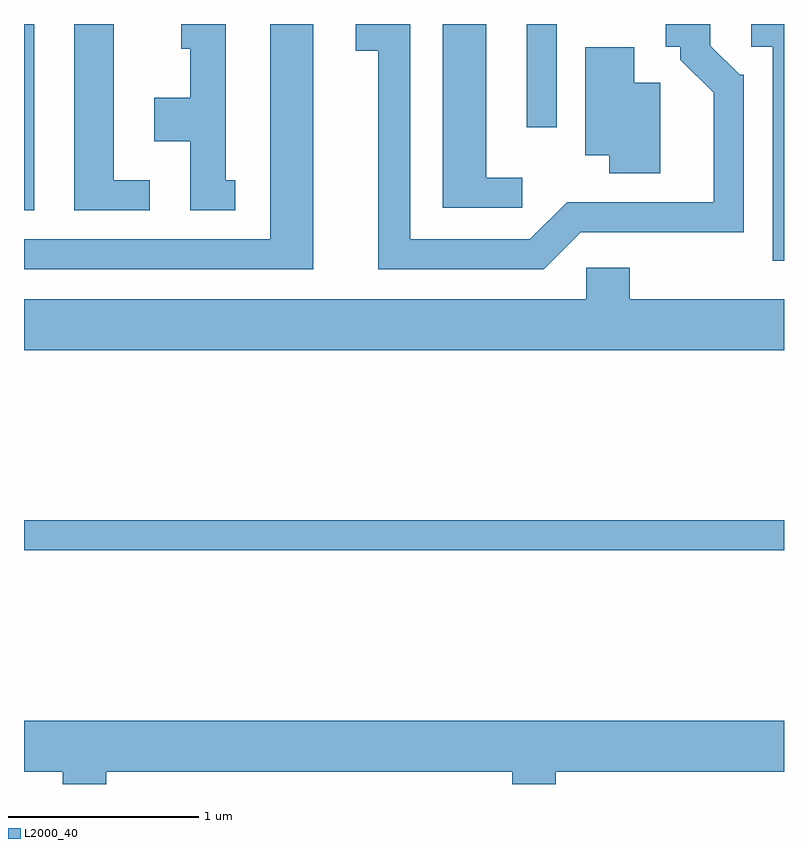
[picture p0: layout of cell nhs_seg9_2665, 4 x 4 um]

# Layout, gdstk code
import gdstk
lib = gdstk.Library(unit=1e-6, precision=1e-09)
def R(c, l, rs):  # rectangles x0, y0, x1, y1
    for r in rs: c.add(gdstk.rectangle(r[:2], r[2:], *l))
def P(c, l, *ps):  # polygons
    for p in ps: c.add(gdstk.Polygon(p, *l))
L2000_40 = (2000, 40)

nhs_seg9_2665 = lib.new_cell('nhs_seg9_2665')
R(nhs_seg9_2665, L2000_40, [(263.611,1979.661,267.611,1979.819), (263.611,1981.451,263.664,1982.432), (266.256,1981.888,266.414,1982.432)])
P(nhs_seg9_2665, L2000_40, [(264.273,1981.609),(264.084,1981.609),(264.084,1982.432),(263.876,1982.432),(263.876,1981.451),(264.273,1981.451)],
  [(266.542,1981.336),(267.399,1981.336),(267.399,1982.164),(267.377,1982.164),(267.224,1982.317),(267.224,1982.432),(266.988,1982.432),(266.988,1982.311),(267.066,1982.311),(267.066,1982.244),(267.241,1982.069),(267.241,1981.494),(266.469,1981.494),(266.274,1981.299),(265.644,1981.299),(265.644,1982.432),(265.358,1982.432),(265.358,1982.291),(265.476,1982.291),(265.476,1981.141),(266.347,1981.141)],
  [(265.134,1982.432),(264.906,1982.432),(264.906,1981.299),(263.611,1981.299),(263.611,1981.141),(265.134,1981.141)],
  [(266.233,1981.624),(266.044,1981.624),(266.044,1982.432),(265.816,1982.432),(265.816,1981.466),(266.233,1981.466)],
  [(264.723,1981.609),(264.674,1981.609),(264.674,1982.432),(264.438,1982.432),(264.438,1982.301),(264.486,1982.301),(264.486,1982.044),(264.296,1982.044),(264.296,1981.816),(264.486,1981.816),(264.486,1981.451),(264.723,1981.451)],
  [(267.611,1982.432),(267.438,1982.432),(267.438,1982.311),(267.551,1982.311),(267.551,1981.186),(267.611,1981.186)],
  [(266.959,1982.124),(266.824,1982.124),(266.824,1982.309),(266.566,1982.309),(266.566,1981.741),(266.691,1981.741),(266.691,1981.646),(266.959,1981.646)],
  [(267.611,1980.984),(266.799,1980.984),(266.799,1981.149),(266.571,1981.149),(266.571,1980.984),(263.611,1980.984),(263.611,1980.716),(267.611,1980.716)],
  [(264.044,1978.496),(266.181,1978.496),(266.181,1978.432),(266.409,1978.432),(266.409,1978.496),(267.611,1978.496),(267.611,1978.764),(263.611,1978.764),(263.611,1978.496),(263.816,1978.496),(263.816,1978.432),(264.044,1978.432)])

lib.write_gds('nhs_seg9_2665.gds')
